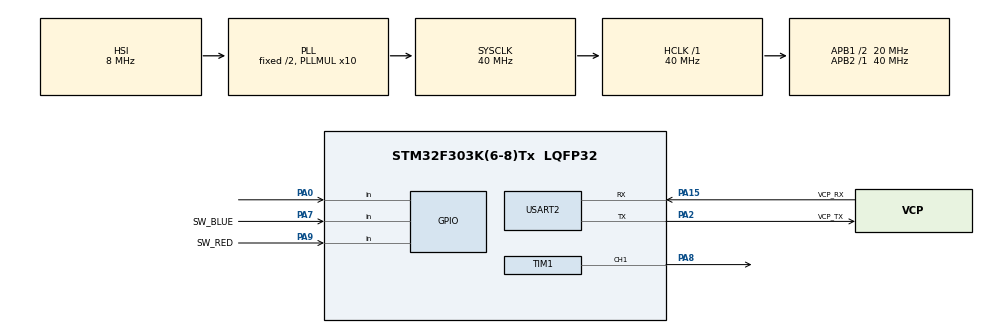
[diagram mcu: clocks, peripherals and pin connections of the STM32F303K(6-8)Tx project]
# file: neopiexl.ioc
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Dma.Request0=TIM1_CH1
Dma.TIM1_CH1.0.Direction=DMA_MEMORY_TO_PERIPH
Dma.TIM1_CH1.0.Instance=DMA1_Channel2
Dma.TIM1_CH1.0.MemDataAlignment=DMA_MDATAALIGN_HALFWORD
Dma.TIM1_CH1.0.MemInc=DMA_MINC_ENABLE
Dma.TIM1_CH1.0.Mode=DMA_NORMAL
Dma.TIM1_CH1.0.PeriphDataAlignment=DMA_PDATAALIGN_HALFWORD
Dma.TIM1_CH1.0.PeriphInc=DMA_PINC_DISABLE
Dma.TIM1_CH1.0.Priority=DMA_PRIORITY_VERY_HIGH
Mcu.Family=STM32F3
Mcu.Name=STM32F303K(6-8)Tx
Mcu.Package=LQFP32
NVIC.DMA1_Channel2_IRQn=true\:0\:0\:false\:false\:true\:false\:true\:true
NVIC.PriorityGroup=NVIC_PRIORITYGROUP_4
PA0.GPIO_PuPd=GPIO_PULLUP
PA0.Signal=GPIO_Input
PA13.GPIO_Label=SWDIO
PA13.Mode=Serial_Wire
PA13.Signal=SYS_JTMS-SWDIO
PA14.GPIO_Label=SWCLK
PA14.Mode=Serial_Wire
PA14.Signal=SYS_JTCK-SWCLK
PA15.GPIO_Label=VCP_RX
PA15.Mode=Asynchronous
PA15.Signal=USART2_RX
PA2.GPIO_Label=VCP_TX
PA2.Mode=Asynchronous
PA2.Signal=USART2_TX
PA7.GPIO_Label=SW_BLUE
PA7.GPIO_Mode=GPIO_MODE_INPUT
PA7.GPIO_PuPd=GPIO_PULLUP
PA7.Signal=GPIO_Input
PA8.Signal=S_TIM1_CH1
PA9.GPIO_Label=SW_RED
PA9.GPIO_Mode=GPIO_MODE_INPUT
PA9.GPIO_PuPd=GPIO_PULLUP
PA9.Signal=GPIO_Input
PF0\ /\ OSC_IN.GPIO_Label=MCO
PF0\ /\ OSC_IN.Mode=HSE-External-Clock-Source
PF0\ /\ OSC_IN.Signal=RCC_OSC_IN
ProjectManager.HeapSize=0x200
ProjectManager.StackSize=0x400
ProjectManager.TargetToolchain=STM32CubeIDE
RCC.AHBFreq_Value=40000000
RCC.APB1CLKDivider=RCC_HCLK_DIV2
RCC.APB1Freq_Value=20000000
RCC.APB1TimFreq_Value=40000000
RCC.APB2Freq_Value=40000000
RCC.APB2TimFreq_Value=40000000
RCC.CortexFreq_Value=40000000
RCC.HCLKFreq_Value=40000000
RCC.HSE_VALUE=8000000
RCC.HSI_VALUE=8000000
RCC.PLLMUL=RCC_PLL_MUL10
RCC.SYSCLKFreq_VALUE=40000000
RCC.SYSCLKSourceVirtual=RCC_SYSCLKSOURCE_PLLCLK
SH.S_TIM1_CH1.0=TIM1_CH1,PWM Generation1 CH1
TIM1.Channel-PWM\ Generation1\ CH1=TIM_CHANNEL_1
TIM1.OCFastMode_PWM-PWM\ Generation1\ CH1=TIM_OCFAST_DISABLE
TIM1.OCIdleState_1=TIM_OCIDLESTATE_RESET
TIM1.Period=50-1
TIM1.Prescaler=1-1
USART2.VirtualMode-Asynchronous=VM_ASYNC
board=NUCLEO-F303K8

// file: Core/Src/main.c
/* USER CODE BEGIN Header */
/**
 ******************************************************************************
 * @file           : main.c
 * @brief          : Main program body
 ******************************************************************************
 * @attention
 *
 * Copyright (c) 2024 STMicroelectronics.
 * All rights reserved.
 *
 * This software is licensed under terms that can be found in the LICENSE file
 * in the root directory of this software component.
 * If no LICENSE file comes with this software, it is provided AS-IS.
 *
 ******************************************************************************
 */
/* USER CODE END Header */
#include "main.h"

#include "dma.h"
#include "gpio.h"
#include "tim.h"
#include "usart.h"

/* USER CODE BEGIN Includes */
#include "neopixel.h"
#include "push_sw.h"
/* USER CODE END Includes */

void SystemClock_Config(void);

int main(void) {

    /* MCU
     * Configuration--------------------------------------------------------*/

    /* Reset of all peripherals, Initializes the Flash interface and the
     * Systick. */
    HAL_Init();

    /* Configure the system clock */
    SystemClock_Config();

    /* Initialize all configured peripherals */
    MX_GPIO_Init();
    MX_DMA_Init();
    MX_USART2_UART_Init();
    MX_TIM1_Init();

    /* Infinite loop */
    /* USER CODE BEGIN WHILE */

    enum Color { Red = 0, Blue = 1, Green = 2, Yellow = 3, Off = 4, Size = 5 };

    int sw_pushed_flag = 0;
    int color_count = 0;
    int brightness = 255;  // LEDの明るさを初期化
    int brightness_step = 51;  // 0, 51, 102, ..., 255となる

    while (1) {
        if (readPushSwitch(SW_BLUE_GPIO_Port, SW_BLUE_Pin)) {
            sw_pushed_flag = 1;
            color_count = (color_count + 1) % Size;  // 色変更
        }

        if (readPushSwitch(SW_RED_GPIO_Port, SW_RED_Pin)) {
            sw_pushed_flag = 1;
            brightness -= brightness_step;
            if(brightness < 0) brightness = 255;
        }

        if (sw_pushed_flag) {
            switch (color_count) {
                case Red:
                    UpdateNeoPixel(brightness, 0, 0);
                    break;
                case Blue:
                    UpdateNeoPixel(0, 0, brightness);
                    break;
                case Green:
                    UpdateNeoPixel(0, brightness, 0);
                    break;
                case Yellow:
                    UpdateNeoPixel(brightness, brightness, 0);
                    break;
                case Off:
                    UpdateNeoPixel(0, 0, 0);
                    break;
            }
            SetNeoPixel();
            sw_pushed_flag = 0;
        }
    }
    /* USER CODE END WHILE */

}

void SystemClock_Config(void) {
    RCC_OscInitTypeDef RCC_OscInitStruct = {0};
    RCC_ClkInitTypeDef RCC_ClkInitStruct = {0};
    RCC_PeriphCLKInitTypeDef PeriphClkInit = {0};

    /** Initializes the RCC Oscillators according to the specified parameters
     * in the RCC_OscInitTypeDef structure.
     */
    RCC_OscInitStruct.OscillatorType = RCC_OSCILLATORTYPE_HSI;
    RCC_OscInitStruct.HSIState = RCC_HSI_ON;
    RCC_OscInitStruct.HSICalibrationValue = RCC_HSICALIBRATION_DEFAULT;
    RCC_OscInitStruct.PLL.PLLState = RCC_PLL_ON;
    RCC_OscInitStruct.PLL.PLLSource = RCC_PLLSOURCE_HSI;
    RCC_OscInitStruct.PLL.PLLMUL = RCC_PLL_MUL10;
    if (HAL_RCC_OscConfig(&RCC_OscInitStruct) != HAL_OK) {
        Error_Handler();
    }

    /** Initializes the CPU, AHB and APB buses clocks
     */
    RCC_ClkInitStruct.ClockType = RCC_CLOCKTYPE_HCLK | RCC_CLOCKTYPE_SYSCLK |
                                  RCC_CLOCKTYPE_PCLK1 | RCC_CLOCKTYPE_PCLK2;
    RCC_ClkInitStruct.SYSCLKSource = RCC_SYSCLKSOURCE_PLLCLK;
    RCC_ClkInitStruct.AHBCLKDivider = RCC_SYSCLK_DIV1;
    RCC_ClkInitStruct.APB1CLKDivider = RCC_HCLK_DIV2;
    RCC_ClkInitStruct.APB2CLKDivider = RCC_HCLK_DIV1;

    if (HAL_RCC_ClockConfig(&RCC_ClkInitStruct, FLASH_LATENCY_1) != HAL_OK) {
        Error_Handler();
    }
    PeriphClkInit.PeriphClockSelection = RCC_PERIPHCLK_TIM1;
    PeriphClkInit.Tim1ClockSelection = RCC_TIM1CLK_HCLK;
    if (HAL_RCCEx_PeriphCLKConfig(&PeriphClkInit) != HAL_OK) {
        Error_Handler();
    }
}

void Error_Handler(void) {
    /* USER CODE BEGIN Error_Handler_Debug */
    /* User can add his own implementation to report the HAL error return state
     */
    __disable_irq();
    while (1) {
    }
    /* USER CODE END Error_Handler_Debug */
}

#ifdef USE_FULL_ASSERT
/**
 * @brief  Reports the name of the source file and the source line number
 *         where the assert_param error has occurred.
 * @param  file: pointer to the source file name
 * @param  line: assert_param error line source number
 * @retval None
 */
void assert_failed(uint8_t *file, uint32_t line) {
    /* USER CODE BEGIN 6 */
    /* User can add his own implementation to report the file name and line
       number, ex: printf("Wrong parameters value: file %s on line %d\r\n",
       file, line) */
    /* USER CODE END 6 */
}
#endif /* USE_FULL_ASSERT */
